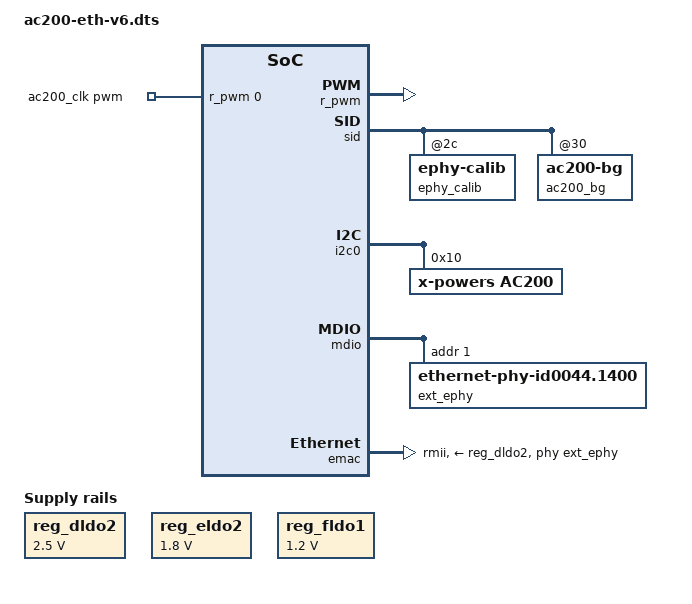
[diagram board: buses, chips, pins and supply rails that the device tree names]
/*
 * Remix Mini PC (H64 = A64): wired Ethernet through the AC200 EPHY, v6.
 * v6: + reset-names = "phy" - phylib looks the PHY reset up by that name; without it
 * v5 never released the reset (SYS_EPHY_CTL0 stayed 0002, MDIO read 0000/ffff, the
 * "Link is Up" was fake).
 * v5: the PHY node takes the AC200 EPHY gate clock and reset (as on the H6 boards), so
 * the kernel opens SYS_EPHY_CTL0 itself - no cs-ac200-eth.sh I2C pokes (they left the
 * AC200 page selector on a stray page). Possible now that the patched dwmac-sun8i
 * survives the failed probe-time reset; the MAC is reset again at open, clocked.
 * v4: the AC200 is clocked from the SoC, not a crystal. The factory Remix OS driver
 * (BSP acx00-core.c) does pwm_request(16) + pwm_config(20, 41): PWM 16 is the s_pwm
 * (factory DTB pwm-base = 0x10), i.e. R_PWM channel 0 on PL10, run at ~24 MHz.
 * Here: R_PWM in bypass (period 42 ns -> the 24 MHz oscillator straight out on PL10),
 * wrapped as a "pwm-clock" (CONFIG_COMMON_CLK_PWM) that the AC200 node consumes.
 * Factory sys_config [gmac0]: phy-mode rmii, PD10/11/13/17/18/19/20/22/23, delays 0.
 *
 * v1/v2 ran the MAC in MII mode; the board is wired for RMII (as on the H6 AC200 boxes),
 * so in MII the MAC waited for an RX/TX clock on pins nothing drives -> "EMAC reset timeout".
 * Build: dtc -@ -I dts -O dtb -o ac200-eth.dtbo ac200-eth-v6.dts
 */
/dts-v1/;
/plugin/;

&{/} {
	ac200_clk: ac200-clk {
		compatible = "pwm-clock";
		#clock-cells = <0>;
		clock-frequency = <24000000>;
		pwms = <&r_pwm 0 42 0>;
	};
};

&r_pwm {
	status = "okay";
};

&sid {
	ephy_calib: ephy-calib@2c { reg = <0x2c 0x2>; };
	ac200_bg: ac200-bg@30 { reg = <0x30 0x2>; };
};

&reg_dldo2 {
	regulator-min-microvolt = <2500000>;
	regulator-max-microvolt = <2500000>;
	regulator-always-on;
	regulator-name = "vcc-ephy-2v5";
};

&reg_eldo2 {
	regulator-min-microvolt = <1800000>;
	regulator-max-microvolt = <1800000>;
	regulator-always-on;
	regulator-name = "vcc-ephy-1v8";
};

&reg_fldo1 {
	regulator-min-microvolt = <1200000>;
	regulator-max-microvolt = <1200000>;
	regulator-always-on;
	regulator-name = "vcc-ephy-1v2";
};

&i2c0 {
	#address-cells = <1>;
	#size-cells = <0>;

	ac200: mfd@10 {
		compatible = "x-powers,ac200";
		reg = <0x10>;
		clocks = <&ac200_clk>;
		interrupt-controller;
		#interrupt-cells = <1>;
		nvmem-cells = <&ac200_bg>;
		nvmem-cell-names = "bandgap";

		ac200_ephy_ctl: syscon {
			compatible = "x-powers,ac200-ephy-ctl";
			nvmem-cells = <&ephy_calib>;
			nvmem-cell-names = "calibration";
			#clock-cells = <0>;
			#reset-cells = <0>;
			phy-mode = "rmii";
			x-powers,led-polarity = <0>;
			phy-address = <1>;
			status = "okay";
		};
	};
};

&mdio {
	ext_ephy: ethernet-phy@1 {
		compatible = "ethernet-phy-id0044.1400", "ethernet-phy-ieee802.3-c22";
		reg = <1>;
		clocks = <&ac200_ephy_ctl>;
		resets = <&ac200_ephy_ctl>;
		reset-names = "phy";
		reset-deassert-us = <10000>;
	};
};

&emac {
	pinctrl-names = "default";
	pinctrl-0 = <&rmii_pins>;
	phy-mode = "rmii";
	phy-handle = <&ext_ephy>;
	phy-supply = <&reg_dldo2>;
	status = "okay";
};
